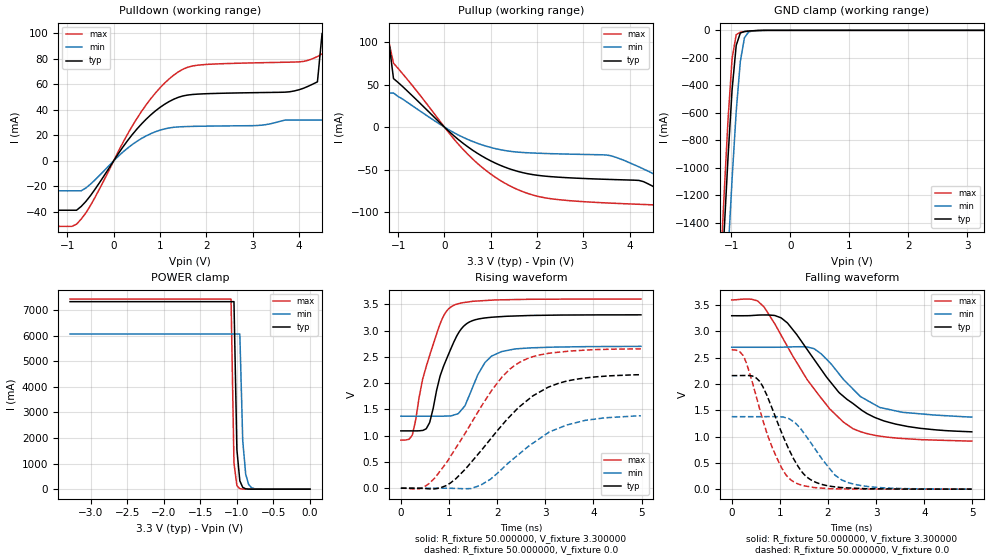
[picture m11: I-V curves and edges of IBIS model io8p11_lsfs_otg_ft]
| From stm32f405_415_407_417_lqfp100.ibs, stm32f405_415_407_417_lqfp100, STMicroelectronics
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|   Model io8p11_lsfs_otg_ft
[Model]  io8p11_lsfs_otg_ft
Model_type I/O
Polarity   Non-Inverting
Enable   Active-Low
Vinl =   0.990000V
Vinh =   2.310000V
Vmeas =  1.650000V
Cref =   30.000000pF
Rref =   100.000000M
Vref =   0.0V
C_comp   8.196500pF   7.968500pF   8.492600pF
[Temperature Range]   25.000000   0.125000k   -40.000000
[Pullup Reference]   3.300000V   2.700000V   3.600000V
[Pulldown Reference]   0.0V   0.0V   0.0V
[POWER Clamp Reference]   3.300000V   2.700000V   3.600000V
[GND Clamp Reference]   0.0V   0.0V   0.0V
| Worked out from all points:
|   slope of the pulldown table from 0 to 0.495 V, typ, clamps not added: 20.1 ohm
|   slope of the pullup table from 0 to 0.495 V, typ, clamps not added: 21.8 ohm
|   GND clamp passes 1 mA (typ) near -0.52 V on its own axis
|   POWER clamp passes 1 mA (typ) near -0.81 V on its own axis
|   rising waveform, R_fixture 50.000000, V_fixture 3.300000: 20-80 % time 466ps typ, 431ps min, 456ps max; typ from 1.09 V to 3.3 V
|   rising waveform, R_fixture 50.000000, V_fixture 0.0: 20-80 % time 1.3ns typ, 1.18ns min, 1.13ns max; typ from 0 V to 2.16 V
|   falling waveform, R_fixture 50.000000, V_fixture 3.300000: 20-80 % time 1.24ns typ, 906ps min, 1.17ns max; typ from 3.3 V to 1.09 V
|   falling waveform, R_fixture 50.000000, V_fixture 0.0: 20-80 % time 623ps typ, 666ps min, 570ps max; typ from 2.16 V to 0 V
[Pulldown]
|Voltage   I(typ)   I(min)   I(max)
-3.3V     -38.65mA   -23.43mA   -51.3mA
-800mV    -38.65mA   -23.43mA   -49.55mA
600mV     28.89mA    17.56mA    38.66mA
1.4V      49.88mA    26.66mA    69.85mA
4.1V      56.96mA    32mA       77.99mA
4.4V      62mA       32mA       81.81mA
4.5V      100mA      32mA       83.91mA
4.7V      100mA      32mA       89mA
4.8V      100mA      32mA       100mA
5.1V      100mA      32mA       100mA
5.2V      1A         1A         100mA
6.6V      1A         1A         1A
[Pullup]
|Voltage   I(typ)   I(min)   I(max)
-3.3V     1A         1A         100mA
-1.9V     1A         1A         100mA
-1.8V     100mA      1A         100mA
-1.6V     100mA      1A         100mA
-1.5V     100mA      40mA       100mA
-1.2V     100mA      40mA       100mA
-1.1V     57mA       40mA       75mA
500mV     -22.94mA   -14.36mA   -31.63mA
1.6V      -52.16mA   -29.4mA    -73.72mA
4.2V      -62.54mA   -46.6mA    -90.53mA
5.5V      -103mA     -65mA      -126.2mA
6.6V      -103mA     -65mA      -139mA
[GND_clamp]
|Voltage   I(typ)   I(min)   I(max)
-3.3V     -9.479A    -9.465A    -9.974A
-1.2V     -2.125A    -2.854A    -1.857A
-1.13V    -1.511A    -2.236A    -1.236A
-1.06V    -933.3mA   -1.641A    -660.9mA
-990mV    -433.3mA   -1.082A    -206.9mA
-920mV    -110.3mA   -591mA     -31.45mA
-850mV    -19.78mA   -226.7mA   -13.65mA
-780mV    -8.311mA   -53.93mA   -9.506mA
-710mV    -5.285mA   -11.94mA   -6.262mA
-640mV    -3.232mA   -4.282mA   -3.577mA
3.28V     0A         0A         0A
[POWER_clamp]
|Voltage   I(typ)   I(min)   I(max)
-3.28V    7.328A     6.064A     7.43A
-1.08V    7.328A     6.064A     7.43A
-1.04V    7.328A     6.064A     1.015A
-1V       1.545A     6.064A     138.6mA
-960mV    325.6mA    6.064A     18.93mA
-920mV    68.64mA    1.89A      2.585mA
-880mV    14.47mA    589mA      353uA
-840mV    3.05mA     183.6mA    105.2uA
-800mV    642.9uA    57.21mA    105.2uA
-720mV    28.59uA    5.557mA    105.2uA
0V        0A         0A         0A
[Ramp]
| variable   typ   min   max
dV/dt_r  1.26815/1.27211n   0.78786/1.10677n   1.58131/1.12071n
dV/dt_f  1.28418/1.20556n   0.74868/0.85275n   1.59074/1.16368n
R_load = 50.000000
[Rising Waveform]
R_fixture= 50.000000
V_fixture= 3.300000
V_fixture_min= 2.700000
V_fixture_max= 3.600000
|time   V(typ)   V(min)   V(max)
0s        1.091V     1.371V     914.8mV
240.2ps   1.091V     1.371V     1.022V
530.5ps   1.137V     1.371V     2.329V
600.6ps   1.258V     1.371V     2.536V
840.8ps   2.204V     1.37V      3.188V
1.061ns   2.702V     1.381V     3.463V
1.411ns   3.157V     1.745V     3.547V
1.742ns   3.24V      2.385V     3.572V
2.092ns   3.267V     2.601V     3.586V
4.985ns   3.3V       2.7V       3.6V
[Rising Waveform]
R_fixture= 50.000000
V_fixture= 0.0
V_fixture_min= 0.0
V_fixture_max= 0.0
|time   V(typ)   V(min)   V(max)
0s        42.13uV    18.71uV    -458.4uV
500.5ps   -7.378mV   44.79uV    34.72mV
700.7ps   -12.92mV   46.35uV    189.7mV
1.031ns   100.1mV    -1.915mV   605.3mV
1.652ns   699.6mV    54.16mV    1.529V
2.102ns   1.201V     368mV      2.118V
2.452ns   1.543V     647.8mV    2.388V
3.053ns   1.92V      1.052V     2.565V
3.443ns   2.038V     1.202V     2.604V
4.985ns   2.161V     1.379V     2.652V
[Falling Waveform]
R_fixture= 50.000000
V_fixture= 3.300000
V_fixture_min= 2.700000
V_fixture_max= 3.600000
|time   V(typ)   V(min)   V(max)
0s        3.3V       2.7V       3.6V
540.5ps   3.311V     2.7V       3.58V
680.7ps   3.315V     2.7V       3.455V
1.031ns   3.256V     2.701V     2.923V
1.712ns   2.468V     2.672V     1.908V
2.222ns   1.845V     2.202V     1.362V
2.513ns   1.634V     1.91V      1.154V
3.083ns   1.325V     1.553V     1.008V
3.924ns   1.156V     1.433V     942.3mV
4.985ns   1.091V     1.371V     914.8mV
[Falling Waveform]
R_fixture= 50.000000
V_fixture= 0.0
V_fixture_min= 0.0
V_fixture_max= 0.0
|time   V(typ)   V(min)   V(max)
0s        2.161V     1.379V     2.652V
240.2ps   2.162V     1.379V     2.54V
580.6ps   2.05V      1.379V     1.527V
930.9ps   1.319V     1.379V     606.4mV
1.111ns   913.7mV    1.361V     293.9mV
1.281ns   585.7mV    1.286V     142.3mV
1.672ns   162.8mV    844.4mV    36.22mV
2.142ns   44.11mV    269.3mV    6.408mV
2.372ns   24.46mV    140.1mV    3.553mV
4.985ns   42.13uV    18.71uV    -458.4uV
